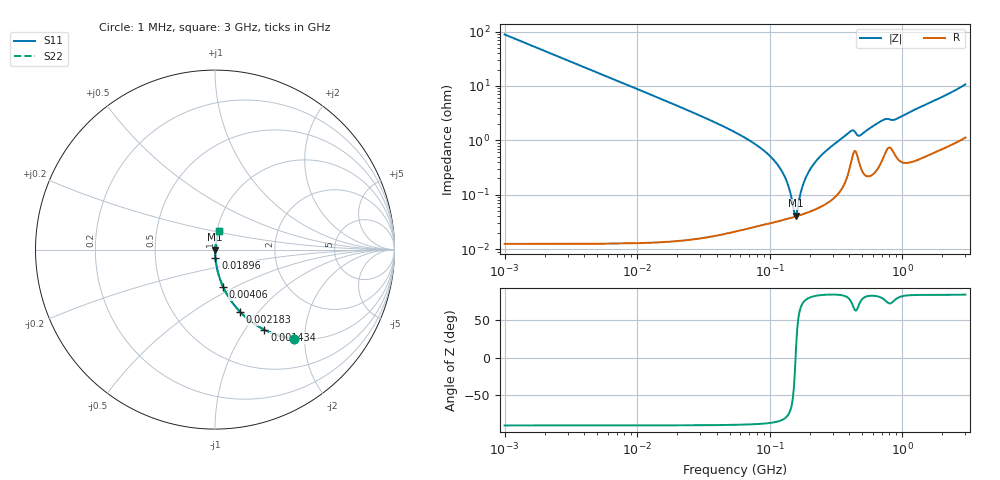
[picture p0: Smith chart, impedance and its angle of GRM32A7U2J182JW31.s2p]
!Murata Part Number: GRM32A7U2J182JW31
!These Parameters are Measured in Series Mode Connection
!Data Generated on Mar 30, 2021
!  o--ll--o
!Port1  Port2
!  o------o
!Operation Temp=25[degC], DC Bias Voltage=0[V]
!Freq. Start=1000[kHz] Stop=3[GHz] 401[Steps]
# Hz S RI R 50
!Freq.(Hz) S11(Real) S11(Imag) S21(Real) S21(Imag) S12(Real) S12(Imag) S22(Real) S22(Imag)
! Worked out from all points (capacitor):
!   401 points, 1 MHz to 3 GHz, reference 50 ohm
!   read as one part in series: C = 1.8 nF near 1.041 MHz
!   lowest |Z| = 41.3 mohm at 158.2 MHz (marker M1)
!   series resonance near 156.9 MHz, so ESL is about 570 pH
!   S11 on the Smith chart (normalised r, x): 1 MHz: 1.00, -1.77; 1.434 MHz: 1.00, -1.23; 2.183 MHz: 1.00, -0.81; 4.06 MHz: 1.00, -0.44; 18.96 MHz: 1.00, -0.09; 3 GHz: 1.02, +0.21
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1000000  0.4388 -0.4962  0.5612 0.4962  0.5612 0.4962  0.4388 -0.4962
1433740  0.2756 -0.4467  0.7244 0.4467  0.7244 0.4467  0.2756 -0.4467
2182827  0.141 -0.3479  0.859 0.3479  0.859 0.3479  0.141 -0.3479
3823119  0.0508 -0.2194  0.9492 0.2194  0.9492 0.2194  0.0508 -0.2194
4059721  0.0453 -0.2078  0.9547 0.2078  0.9547 0.2078  0.0453 -0.2078
1.461624e7  0.00371 -0.0597  0.9963 0.0597  0.9963 0.0597  0.00371 -0.0597
1.896016e7  0.00224 -0.0458  0.9978 0.0458  0.9978 0.0458  0.00224 -0.0458
5.477226e7  0.000409 -0.0141  0.9996 0.0141  0.9996 0.0141  0.000409 -0.0141
8.507507e7  0.000324 -0.00729  0.9997 0.00729  0.9997 0.00729  0.000324 -0.00729
1.125904e8  0.000335 -0.00379  0.9997 0.00379  0.9997 0.00379  0.000335 -0.00379
1.321429e8  0.000358 -0.00194  0.9996 0.00194  0.9996 0.00194  0.000358 -0.00194
1.520175e8  0.00039 -0.000355  0.9996 0.000355  0.9996 0.000355  0.00039 -0.000355
1.582265e8  0.000401 9.51e-05  0.9996 -9.51e-05  0.9996 -9.51e-05  0.000401 9.51e-05
1.820241e8  0.000451 0.00168  0.9995 -0.00168  0.9995 -0.00168  0.000451 0.00168
2.094008e8  0.00052 0.00332  0.9995 -0.00332  0.9995 -0.00332  0.00052 0.00332
2.609752e8  0.000697 0.0061  0.9993 -0.0061  0.9993 -0.0061  0.000697 0.0061
4.0536e8  0.00355 0.0141  0.9965 -0.0141  0.9965 -0.0141  0.00355 0.0141
4.853736e8  0.00336 0.012  0.9966 -0.012  0.9966 -0.012  0.00336 0.012
6.958997e8  0.00443 0.0222  0.9956 -0.0222  0.9956 -0.0222  0.00443 0.0222
8.005644e8  0.0079 0.0229  0.9921 -0.0229  0.9921 -0.0229  0.0079 0.0229
9.0272e8  0.0055 0.0239  0.9945 -0.0239  0.9945 -0.0239  0.0055 0.0239
3e9  0.022 0.103  0.978 -0.103  0.978 -0.103  0.022 0.103
